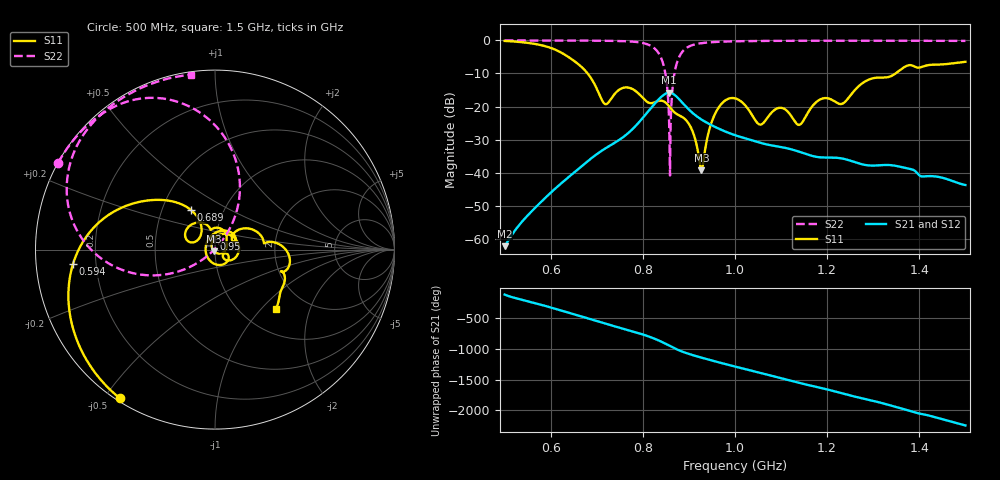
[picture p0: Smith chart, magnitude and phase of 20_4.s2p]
! TOUCHSTONE file generated by CST MICROWAVE STUDIO
! Date and time: Fri Oct  2 16:57:04 2020
! Project name: Scenario_1_Free_Space_out_of_line.cst
! Parameters = {Lambda=346.42; Step_1=17.321; dy1=18.161; dx1=693; L_HA=400; MT=2.54; Rad_Dielectric=30; Rad_Lower=7.3; Rad_Upper=30; a_HA=580; a_WG=246; b_HA=500; b_WG=121; c_HA=0; c_WG=187; d_feed=85; h_feed=15; h_lower=18; h_upper=40}
! Header version: 2018
! Port assignment regex: !\s*Touchstone port\s*([0-9]+)\s*=\s*(CST MWS port|CST DS port)\s*([0-9]+|Zmin|Zmax)\s*\(\"(.*)\"\)(\s*mode\s*([0-9]+))?.*
! Touchstone port assignment:
! Touchstone port 1 = CST MWS port 1 ("")
! Touchstone port 2 = CST MWS port 2 ("")
# GHz S DB R 50
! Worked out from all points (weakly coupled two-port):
!   1003 points, 500 MHz to 1.5 GHz, reference 50 ohm
!   highest |S21| = -15.84 dB at 857 MHz (marker M1); lowest = -62.3 dB at 500 MHz (marker M2)
!   lowest |S11| = -39.3 dB at 927 MHz (marker M3), VSWR 1.02, Z = 49.2 - j0.752 ohm
!   |S11| at or under -10 dB: 680.2 MHz to 1.348 GHz (668.2 MHz wide, 65.9 % of centre)
!   |S22| runs from -40.9 to 0.0 dB; largest |S21 - S12| = 3.8e-05
!   S11 on the Smith chart (normalised r, x): 500 MHz: 0.01, -0.55; 594 MHz: 0.11, -0.05; 689 MHz: 0.70, +0.33; 950 MHz: 0.98, +0.12; 1.5 GHz: 1.41, -1.22
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0.5  -0.15 -122.6  -62.28 -116.5  -62.28 -116.5  -0.01 151.1
0.594  -1.98 -174.1  -46.89 46.8  -46.89 46.8  -0.02 144.5
0.667  -8.03 135.9  -38.10 -112.5  -38.10 -112.5  -0.04 138.2
0.689  -11.73 121.3  -35.59 -161.3  -35.59 -161.3  -0.06 136.0
0.718  -19.26 141.2  -32.74 132.9  -32.74 132.9  -0.10 132.4
0.763  -14.22 142.7  -28.65 36.8  -28.65 36.8  -0.24 124.6
0.834  -18.31 89.9  -17.89 -141.2  -17.89 -141.2  -3.80 86.4
0.848  -18.67 66.3  -16.24 169.6  -16.24 169.6  -9.35 66.2
0.857  -19.92 51.1  -15.84 135.1  -15.84 135.1  -24.62 51.5
0.862  -20.79 44.6  -15.96 115.8  -15.96 115.8  -19.23 -142.2
0.868  -21.69 38.6  -16.40 93.2  -16.40 93.2  -10.49 -152.8
0.879  -22.68 27.0  -17.81 55.9  -17.81 55.9  -4.95 -170.3
0.906  -26.86 -23.6  -21.71 -15.2  -21.71 -15.2  -1.49 164.7
0.927  -39.31 -135.1  -23.92 -60.8  -23.92 -60.8  -0.84 155.2
0.95  -24.45 96.4  -25.72 -108.2  -25.72 -108.2  -0.53 148.8
1  -17.53 -3.7  -28.68 153.7  -28.68 153.8  -0.26 140.1
1.054  -25.47 -32.1  -30.95 50.9  -30.95 50.9  -0.16 133.9
1.098  -20.38 -49.4  -32.22 -31.1  -32.22 -31.1  -0.12 129.7
1.14  -25.55 175.5  -33.72 -112.3  -33.72 -112.3  -0.10 126.2
1.167  -20.06 82.6  -34.94 -160.8  -34.94 -160.8  -0.09 124.0
1.334  -11.04 7.5  -37.71 -110.2  -37.71 -110.2  -0.09 111.3
1.5  -6.46 -44.5  -43.77 -83.1  -43.76 -82.7  -0.14 97.8
